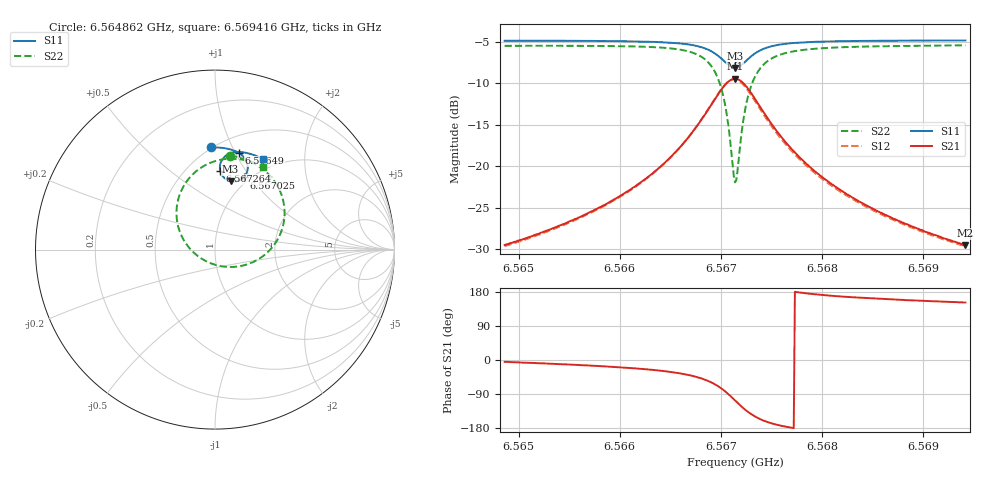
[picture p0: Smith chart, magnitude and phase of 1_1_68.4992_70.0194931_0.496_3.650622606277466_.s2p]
#  HZ  S  RI  R  50.00
! Rohde & Schwarz Vector Network Analyzer
! Rohde-Schwarz,ZNB20-2Port,1311601062101988,3.16
! Created: UTC 3/20/2024, 4:48:36 PM
! freq[Hz]  re:S11  im:S11  re:S21  im:S21  re:S12  im:S12  re:S22  im:S22
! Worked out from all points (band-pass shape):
!   401 points, 6.564862 GHz to 6.569416 GHz, reference 50 ohm
!   highest |S21| = -9.48 dB at 6.567139 GHz (marker M1); lowest = -29.5 dB at 6.569416 GHz (marker M2)
!   |S21| within 3 dB of the highest: 6.566912 GHz to 6.567367 GHz (455.6 kHz wide, 0.00694 % of centre)
!   lowest |S11| = -8.2 dB at 6.567139 GHz (marker M3), VSWR 2.28, Z = 43.3 + j38.9 ohm
!   |S11| at or under -10 dB: nowhere
!   |S22| runs from -21.9 to -5.4 dB; largest |S21 - S12| = 0.018
!   S11 on the Smith chart (normalised r, x): 6.564862 GHz: 0.49, +0.83; 6.56649 GHz: 0.67, +1.04; 6.567025 GHz: 0.94, +0.93; 6.567264 GHz: 0.71, +0.77; 6.569416 GHz: 0.85, +1.28
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6.5648622e9  -0.0219 0.569  0.0335 -0.00291  0.0329 -0.00338  0.0838 0.5235
6.565625e9  0.0433 0.5663  0.0486 -0.0119  0.0479 -0.0125  0.1643 0.5038
6.5660462e9  0.0835 0.5588  0.0645 -0.0235  0.0636 -0.0243  0.2222 0.4781
6.5663878e9  0.1212 0.5453  0.0864 -0.0454  0.0852 -0.0466  0.2854 0.4328
6.5664903e9  0.1338 0.5383  0.0955 -0.0575  0.0942 -0.0587  0.3092 0.409
6.5666952e9  0.1619 0.5139  0.1169 -0.0997  0.115 -0.1018  0.3623 0.3266
6.5668546e9  0.1806 0.4752  0.1259 -0.1682  0.1224 -0.1722  0.3876 0.1943
6.566957e9  0.1788 0.4339  0.1038 -0.241  0.0968 -0.2462  0.3484 0.0556
6.5670253e9  0.1597 0.4021  0.0561 -0.2952  0.0443 -0.299  0.2569 -0.044
6.5670823e9  0.1281 0.3825  -0.0123 -0.3256  -0.0279 -0.3251  0.1282 -0.0942
6.5671164e9  0.1039 0.379  -0.0622 -0.3285  -0.0786 -0.3237  0.0372 -0.0931
6.5671392e9  0.0871 0.381  -0.0959 -0.3218  -0.1116 -0.3143  -0.0225 -0.0768
6.567162e9  0.0712 0.3866  -0.1277 -0.3089  -0.1423 -0.2986  -0.0773 -0.0486
6.5672189e9  0.0408 0.4125  -0.1885 -0.2551  -0.1971 -0.2406  -0.176 0.056
6.5672644e9  0.0292 0.4386  -0.2131 -0.2035  -0.2169 -0.1886  -0.2099 0.1504
6.5673555e9  0.0319 0.4843  -0.215 -0.1156  -0.2127 -0.1041  -0.1975 0.3041
6.5674921e9  0.0594 0.5221  -0.1774 -0.0429  -0.1733 -0.0365  -0.1171 0.4259
6.5676515e9  0.0917 0.5388  -0.1364 -0.00819  -0.133 -0.00489  -0.0327 0.4806
6.567902e9  0.1306 0.5444  -0.0957 0.00977  -0.0934 0.0113  0.056 0.5044
6.5682321e9  0.1694 0.5401  -0.0669 0.0157  -0.0651 0.0164  0.1288 0.5048
6.5686648e9  0.2098 0.5291  -0.0467 0.0169  -0.0457 0.0172  0.1917 0.4924
6.5694162e9  0.269 0.5039  -0.0294 0.0158  -0.0289 0.016  0.2673 0.4624
